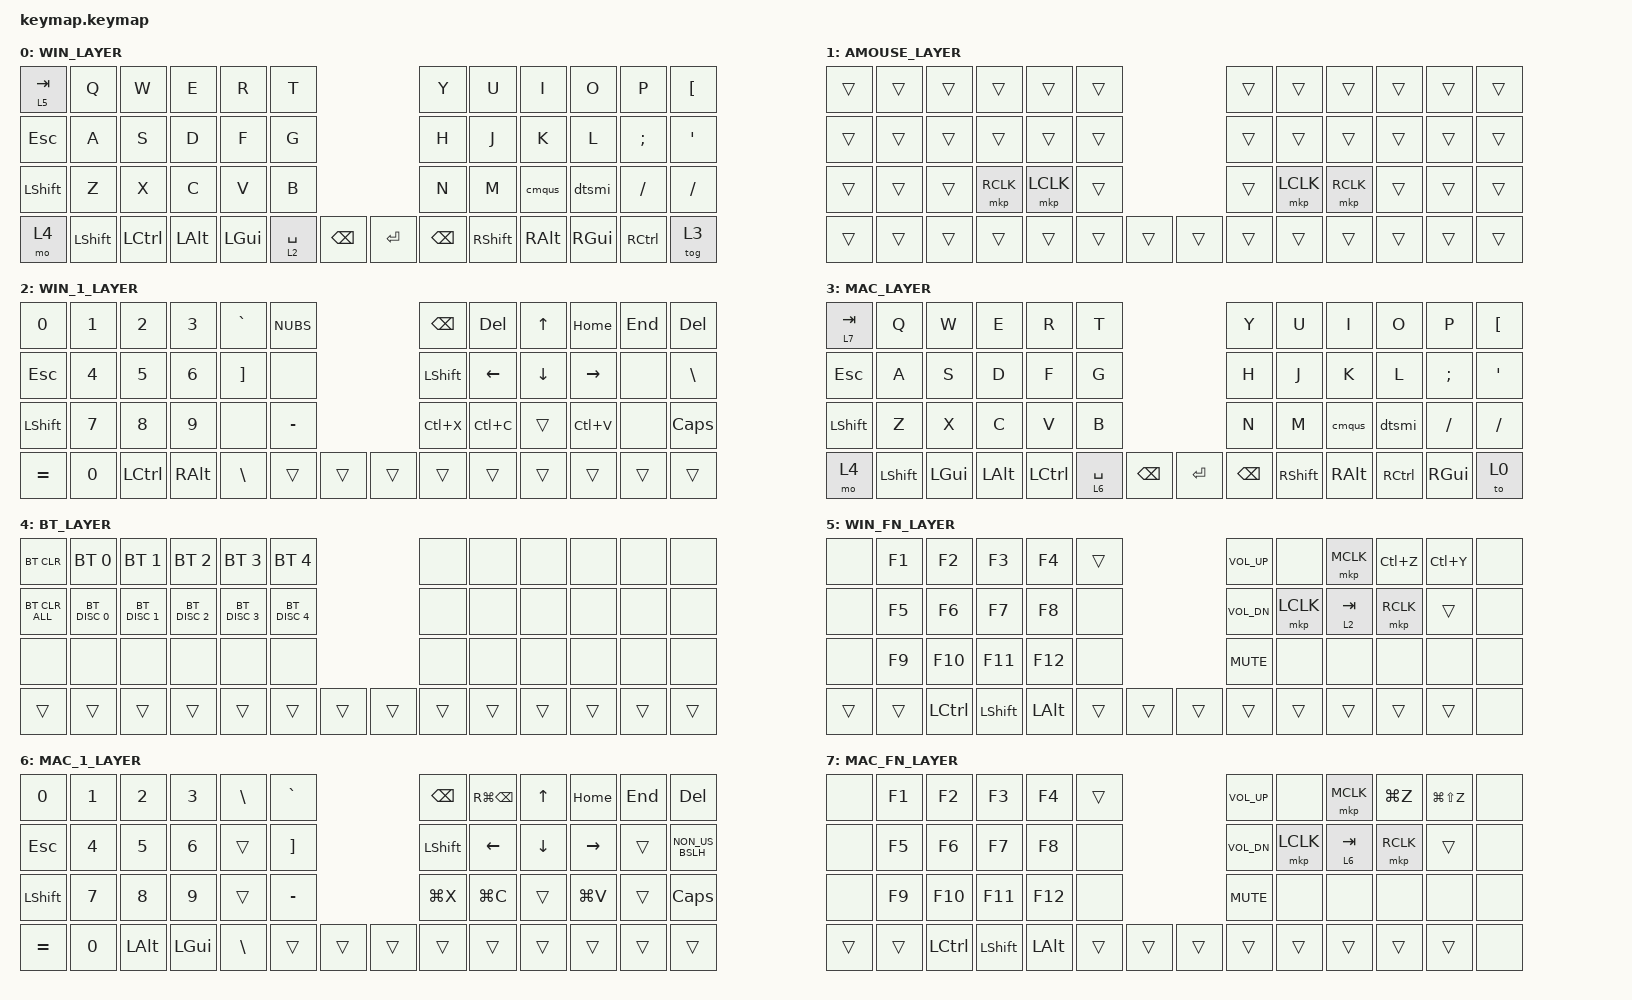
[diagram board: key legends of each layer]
#include <behaviors/mouse_keys.dtsi>
#include <dt-bindings/zmk/mouse.h>
#include <behaviors.dtsi>
#include <dt-bindings/zmk/bt.h>
#include <dt-bindings/zmk/keys.h>
#include <dt-bindings/zmk/outputs.h>
#include <dt-bindings/zmk/pointing.h>

&lt {
    tapping-term-ms = <240>;
    flavor = "balanced";
    quick-tap-ms = <150>;
};

&mt {
    tapping-term-ms = <200>;
    flavor = "tap-preferred";
    quick-tap-ms = <150>;
};

&caps_word { continue-list = <UNDERSCORE MINUS>; };

/ {
    behaviors {
        cmqus: comma_question {
            compatible = "zmk,behavior-mod-morph";
            #binding-cells = <0>;
            bindings = <&kp COMMA>, <&kp QUESTION>;
            mods = <(MOD_LSFT|MOD_RSFT)>;
        };

        dtsmi: dot_semi {
            compatible = "zmk,behavior-mod-morph";
            #binding-cells = <0>;
            bindings = <&kp DOT>, <&kp SEMI>;
            mods = <(MOD_LSFT|MOD_RSFT)>;
        };
    };

    combos {
        compatible = "zmk,combos";

        bt_clear {
            bindings = <&bt BT_CLR>;
            key-positions = <28 29>;
            layers = <4>;
        };

        bootloader_combo {
            bindings = <&bootloader>;
            key-positions = <0 12>;
            layers = <0>;
        };
    };

    keymap {
        compatible = "zmk,keymap";

        // Layer 0: Windows base
        WIN_LAYER {
            bindings = <
&lt 5 TAB   &kp Q  &kp W  &kp E  &kp R  &kp T    &kp Y  &kp U  &kp I   &kp O    &kp P     &kp LBKT
&kp ESCAPE  &kp A  &kp S  &kp D  &kp F  &kp G    &kp H  &kp J  &kp K   &kp L    &kp SEMI  &kp SQT
&kp LSHFT   &kp Z  &kp X  &kp C  &kp V  &kp B    &kp N  &kp M  &cmqus  &dtsmi   &kp FSLH  &kp FSLH
&mo 4  &kp LSHFT  &kp LCTRL  &kp LALT  &kp LGUI  &lt 2 SPACE  &kp BSPC    &kp ENTER  &kp BSPC  &kp RSHFT  &kp RALT  &kp RGUI  &kp RCTRL  &tog 3
            >;
        };

        // Layer 1: Auto-mouse — do NOT move (automouse-layer = <1> in dtsi)
        AMOUSE_LAYER {
            bindings = <
&trans  &trans  &trans  &trans     &trans     &trans    &trans  &trans     &trans     &trans  &trans  &trans
&trans  &trans  &trans  &trans     &trans     &trans    &trans  &trans     &trans     &trans  &trans  &trans
&trans  &trans  &trans  &mkp RCLK  &mkp LCLK  &trans    &trans  &mkp LCLK  &mkp RCLK  &trans  &trans  &trans
&trans  &trans  &trans  &trans  &trans  &trans  &trans    &trans  &trans  &trans  &trans  &trans  &trans  &trans
            >;
        };

        // Layer 2: Windows numbers + navigation
        WIN_1_LAYER {
            bindings = <
&kp N0     &kp N1  &kp N2     &kp N3    &kp GRAVE  &kp NUBS    &kp BSPC   &kp DEL    &kp UP    &kp HOME   &kp END   &kp DEL
&kp ESC    &kp N4  &kp N5     &kp N6    &kp RBKT   &none       &kp LSHFT  &kp LEFT   &kp DOWN  &kp RIGHT  &none     &kp BSLH
&kp LSHFT  &kp N7  &kp N8     &kp N9    &none      &kp MINUS   &kp LC(X)  &kp LC(C)  &trans    &kp LC(V)  &none     &kp CAPS
&kp EQUAL  &kp N0  &kp LCTRL  &kp RALT  &kp BSLH   &trans  &trans    &trans  &trans  &trans  &trans  &trans  &trans  &trans
            >;
        };

        // Layer 3: Mac base
        MAC_LAYER {
            bindings = <
&lt 7 TAB   &kp Q  &kp W  &kp E  &kp R  &kp T    &kp Y  &kp U  &kp I   &kp O    &kp P     &kp LBKT
&kp ESCAPE  &kp A  &kp S  &kp D  &kp F  &kp G    &kp H  &kp J  &kp K   &kp L    &kp SEMI  &kp SQT
&kp LSHFT   &kp Z  &kp X  &kp C  &kp V  &kp B    &kp N  &kp M  &cmqus  &dtsmi   &kp FSLH  &kp FSLH
&mo 4  &kp LSHFT  &kp LGUI  &kp LALT  &kp LCTRL  &lt 6 SPACE  &kp BSPC    &kp ENTER  &kp BSPC  &kp RSHFT  &kp RALT  &kp RCTRL  &kp RGUI  &to 0
            >;
        };

        // Layer 4: Bluetooth
        BT_LAYER {
            bindings = <
&bt BT_CLR      &bt BT_SEL 0   &bt BT_SEL 1   &bt BT_SEL 2   &bt BT_SEL 3   &bt BT_SEL 4    &none  &none  &none  &none  &none  &none
&bt BT_CLR_ALL  &bt BT_DISC 0  &bt BT_DISC 1  &bt BT_DISC 2  &bt BT_DISC 3  &bt BT_DISC 4   &none  &none  &none  &none  &none  &none
&none           &none          &none          &none          &none          &none           &none  &none  &none  &none  &none  &none
&trans  &trans  &trans  &trans  &trans  &trans  &trans    &trans  &trans  &trans  &trans  &trans  &trans  &trans
            >;
        };

        // Layer 5: Windows F-keys + media + mouse
        WIN_FN_LAYER {
            bindings = <
&none   &kp F1   &kp F2   &kp F3   &kp F4   &trans    &kp C_VOL_UP  &none      &mkp MCLK  &kp LC(Z)  &kp LC(Y)  &none
&none   &kp F5   &kp F6   &kp F7   &kp F8   &none     &kp C_VOL_DN  &mkp LCLK  &lt 2 TAB  &mkp RCLK  &trans     &none
&none   &kp F9   &kp F10  &kp F11  &kp F12  &none     &kp K_MUTE    &none      &none      &none      &none      &none
&trans  &trans   &kp LCTRL  &kp LSHFT  &kp LALT  &trans  &trans    &trans  &trans  &trans  &trans  &trans  &trans  &none
            >;
        };

        // Layer 6: Mac numbers + navigation
        MAC_1_LAYER {
            bindings = <
&kp N0     &kp N1  &kp N2    &kp N3    &kp BSLH  &kp GRAVE    &kp BSPC   &kp RG(BSPC)  &kp UP    &kp HOME   &kp END   &kp DEL
&kp ESC    &kp N4  &kp N5    &kp N6    &trans    &kp RBKT     &kp LSHFT  &kp LEFT      &kp DOWN  &kp RIGHT  &trans    &kp NON_US_BSLH
&kp LSHFT  &kp N7  &kp N8    &kp N9    &trans    &kp MINUS    &kp LG(X)  &kp LG(C)     &trans    &kp LG(V)  &trans    &kp CAPS
&kp EQUAL  &kp N0  &kp LALT  &kp LGUI  &kp BSLH  &trans  &trans    &trans  &trans  &trans  &trans  &trans  &trans  &trans
            >;
        };

        // Layer 7: Mac F-keys + media + mouse
        MAC_FN_LAYER {
            bindings = <
&none   &kp F1   &kp F2   &kp F3   &kp F4   &trans    &kp C_VOL_UP  &none      &mkp MCLK  &kp LG(Z)  &kp LG(LS(Z))  &none
&none   &kp F5   &kp F6   &kp F7   &kp F8   &none     &kp C_VOL_DN  &mkp LCLK  &lt 6 TAB  &mkp RCLK  &trans         &none
&none   &kp F9   &kp F10  &kp F11  &kp F12  &none     &kp K_MUTE    &none      &none      &none      &none          &none
&trans  &trans   &kp LCTRL  &kp LSHFT  &kp LALT  &trans  &trans    &trans  &trans  &trans  &trans  &trans  &trans  &none
            >;
        };
    };
};
